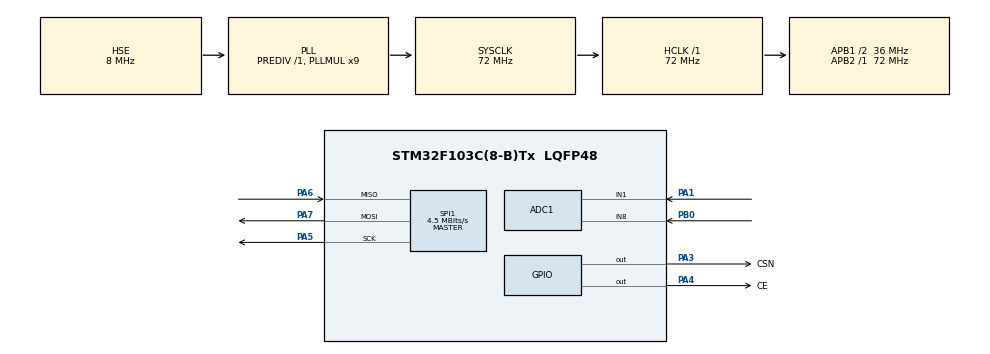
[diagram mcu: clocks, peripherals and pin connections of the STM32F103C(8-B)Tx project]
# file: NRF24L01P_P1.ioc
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ADC1.Channel-15\#ChannelInjectedConversion=ADC_CHANNEL_1
ADC1.Channel-16\#ChannelInjectedConversion=ADC_CHANNEL_8
ADC1.DiscontinuousConvMode=DISABLE
ADC1.EnableInjectedConversion=ENABLE
ADC1.EnableRegularConversion=DISABLE
ADC1.InjNumberOfConversion=2
ADC1.InjectedOffset-15\#ChannelInjectedConversion=0
ADC1.InjectedOffset-16\#ChannelInjectedConversion=0
ADC1.InjectedRank-15\#ChannelInjectedConversion=1
ADC1.InjectedRank-16\#ChannelInjectedConversion=2
ADC1.SamplingTime-15\#ChannelInjectedConversion=ADC_SAMPLETIME_239CYCLES_5
ADC1.SamplingTime-16\#ChannelInjectedConversion=ADC_SAMPLETIME_239CYCLES_5
ADC1.master=1
Mcu.Family=STM32F1
Mcu.Name=STM32F103C(8-B)Tx
Mcu.Package=LQFP48
NVIC.PriorityGroup=NVIC_PRIORITYGROUP_4
PA1.Signal=ADCx_IN1
PA13.Mode=Serial_Wire
PA13.Signal=SYS_JTMS-SWDIO
PA14.Mode=Serial_Wire
PA14.Signal=SYS_JTCK-SWCLK
PA3.GPIO_Label=CSN
PA3.GPIO_PuPd=GPIO_PULLUP
PA3.GPIO_Speed=GPIO_SPEED_FREQ_HIGH
PA3.PinState=GPIO_PIN_SET
PA3.Signal=GPIO_Output
PA4.GPIO_Label=CE
PA4.GPIO_PuPd=GPIO_PULLDOWN
PA4.GPIO_Speed=GPIO_SPEED_FREQ_HIGH
PA4.Signal=GPIO_Output
PA5.Mode=Full_Duplex_Master
PA5.Signal=SPI1_SCK
PA6.Mode=Full_Duplex_Master
PA6.Signal=SPI1_MISO
PA7.Mode=Full_Duplex_Master
PA7.Signal=SPI1_MOSI
PB0.Signal=ADCx_IN8
PD0-OSC_IN.Mode=HSE-External-Oscillator
PD0-OSC_IN.Signal=RCC_OSC_IN
PD1-OSC_OUT.Mode=HSE-External-Oscillator
PD1-OSC_OUT.Signal=RCC_OSC_OUT
ProjectManager.HeapSize=0x200
ProjectManager.StackSize=0x400
ProjectManager.TargetToolchain=STM32CubeIDE
RCC.ADCPresc=RCC_ADCPCLK2_DIV6
RCC.AHBFreq_Value=72000000
RCC.APB1CLKDivider=RCC_HCLK_DIV2
RCC.APB1Freq_Value=36000000
RCC.APB1TimFreq_Value=72000000
RCC.APB2Freq_Value=72000000
RCC.APB2TimFreq_Value=72000000
RCC.HCLKFreq_Value=72000000
RCC.PLLMUL=RCC_PLL_MUL9
RCC.PLLSourceVirtual=RCC_PLLSOURCE_HSE
RCC.SYSCLKFreq_VALUE=72000000
RCC.SYSCLKSource=RCC_SYSCLKSOURCE_PLLCLK
RCC.USBFreq_Value=72000000
SH.ADCx_IN1.0=ADC1_IN1,IN1
SH.ADCx_IN8.0=ADC1_IN8,IN8
SPI1.BaudRatePrescaler=SPI_BAUDRATEPRESCALER_16
SPI1.CalculateBaudRate=4.5 MBits/s
SPI1.Direction=SPI_DIRECTION_2LINES
SPI1.Mode=SPI_MODE_MASTER
SPI1.VirtualType=VM_MASTER
board=custom

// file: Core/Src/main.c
/* USER CODE BEGIN Header */
/**
 ******************************************************************************
 * @file           : main.c
 * @brief          : Main program body
 ******************************************************************************
 * @attention
 *
 * Copyright (c) 2023 STMicroelectronics.
 * All rights reserved.
 *
 * This software is licensed under terms that can be found in the LICENSE file
 * in the root directory of this software component.
 * If no LICENSE file comes with this software, it is provided AS-IS.
 *
 ******************************************************************************
 */
/* USER CODE END Header */
#include "main.h"

/* USER CODE BEGIN Includes */
#include "nrf24l01p.h"
#include "stdio.h"
#include "stdlib.h"
#include "string.h"
/* USER CODE END Includes */

ADC_HandleTypeDef hadc1;

SPI_HandleTypeDef hspi1;

/* USER CODE BEGIN PV */

uint16_t adc_value1 = 0;
uint16_t adc_value2 = 0;

//uint8_t address[5]={0xE7,0xE7,0xE7,0xE7,0xE7};

uint8_t P0_address[6] = "node0";
uint8_t P1_address[6] = "node1";

//uint8_t rx_data[NRF24L01P_PAYLOAD_LENGTH] = { 0 };
uint8_t tx_data[NRF24L01P_PAYLOAD_LENGTH] = { 0 };
/* USER CODE END PV */

void SystemClock_Config(void);
static void MX_GPIO_Init(void);
static void MX_SPI1_Init(void);
static void MX_ADC1_Init(void);
/* USER CODE BEGIN PFP */
//void HAL_GPIO_EXTI_Callback(uint16_t GPIO_Pin);
/* USER CODE END PFP */

int main(void)
{

  /* MCU Configuration--------------------------------------------------------*/

  /* Reset of all peripherals, Initializes the Flash interface and the Systick. */
  HAL_Init();

  /* Configure the system clock */
  SystemClock_Config();

  /* Initialize all configured peripherals */
  MX_GPIO_Init();
  MX_SPI1_Init();
  MX_ADC1_Init();
  /* USER CODE BEGIN 2 */
  nrf24l01p_tx_init(2500, _1Mbps,P0_address);

  /* USER CODE END 2 */

  /* Infinite loop */
	while (1) {

    /* USER CODE BEGIN 3 */

		memset(tx_data, 0, sizeof(tx_data));

		HAL_ADCEx_InjectedStar	t(&hadc1);

		HAL_ADCEx_InjectedPollForConversion(&hadc1, HAL_MAX_DELAY);

		adc_value1=HAL_ADCEx_InjectedGetValue(&hadc1,ADC_INJECTED_RANK_1);

		HAL_ADCEx_InjectedStart(&hadc1);

		HAL_ADCEx_InjectedPollForConversion(&hadc1, HAL_MAX_DELAY);

		adc_value2=HAL_ADCEx_InjectedGetValue(&hadc1,ADC_INJECTED_RANK_2);

		tx_data[0] = adc_value1 & 0xff;
		tx_data[1] = (adc_value1 >> 8) & 0xff;
		tx_data[2] = adc_value2 & 0xff;
		tx_data[3] = (adc_value2 >> 8) & 0xff;

		nrf24l01p_ptx_mode();

		nrf24l01p_flush_tx_fifo();
		nrf24l01p_tx_transmit(tx_data, sizeof(tx_data));

		HAL_Delay(100);

	}

  /* USER CODE END 3 */
}

void SystemClock_Config(void)
{
  RCC_OscInitTypeDef RCC_OscInitStruct = {0};
  RCC_ClkInitTypeDef RCC_ClkInitStruct = {0};
  RCC_PeriphCLKInitTypeDef PeriphClkInit = {0};

  /** Initializes the RCC Oscillators according to the specified parameters
  * in the RCC_OscInitTypeDef structure.
  */
  RCC_OscInitStruct.OscillatorType = RCC_OSCILLATORTYPE_HSE;
  RCC_OscInitStruct.HSEState = RCC_HSE_ON;
  RCC_OscInitStruct.HSEPredivValue = RCC_HSE_PREDIV_DIV1;
  RCC_OscInitStruct.HSIState = RCC_HSI_ON;
  RCC_OscInitStruct.PLL.PLLState = RCC_PLL_ON;
  RCC_OscInitStruct.PLL.PLLSource = RCC_PLLSOURCE_HSE;
  RCC_OscInitStruct.PLL.PLLMUL = RCC_PLL_MUL9;
  if (HAL_RCC_OscConfig(&RCC_OscInitStruct) != HAL_OK)
  {
    Error_Handler();
  }

  /** Initializes the CPU, AHB and APB buses clocks
  */
  RCC_ClkInitStruct.ClockType = RCC_CLOCKTYPE_HCLK|RCC_CLOCKTYPE_SYSCLK
                              |RCC_CLOCKTYPE_PCLK1|RCC_CLOCKTYPE_PCLK2;
  RCC_ClkInitStruct.SYSCLKSource = RCC_SYSCLKSOURCE_PLLCLK;
  RCC_ClkInitStruct.AHBCLKDivider = RCC_SYSCLK_DIV1;
  RCC_ClkInitStruct.APB1CLKDivider = RCC_HCLK_DIV2;
  RCC_ClkInitStruct.APB2CLKDivider = RCC_HCLK_DIV1;

  if (HAL_RCC_ClockConfig(&RCC_ClkInitStruct, FLASH_LATENCY_2) != HAL_OK)
  {
    Error_Handler();
  }
  PeriphClkInit.PeriphClockSelection = RCC_PERIPHCLK_ADC;
  PeriphClkInit.AdcClockSelection = RCC_ADCPCLK2_DIV6;
  if (HAL_RCCEx_PeriphCLKConfig(&PeriphClkInit) != HAL_OK)
  {
    Error_Handler();
  }
}

static void MX_ADC1_Init(void)
{

  ADC_InjectionConfTypeDef sConfigInjected = {0};

  /** Common config
  */
  hadc1.Instance = ADC1;
  hadc1.Init.ScanConvMode = ADC_SCAN_ENABLE;
  hadc1.Init.ContinuousConvMode = DISABLE;
  hadc1.Init.DiscontinuousConvMode = DISABLE;
  hadc1.Init.ExternalTrigConv = ADC_SOFTWARE_START;
  hadc1.Init.DataAlign = ADC_DATAALIGN_RIGHT;
  hadc1.Init.NbrOfConversion = 1;
  if (HAL_ADC_Init(&hadc1) != HAL_OK)
  {
    Error_Handler();
  }

  /** Configure Injected Channel
  */
  sConfigInjected.InjectedChannel = ADC_CHANNEL_1;
  sConfigInjected.InjectedRank = ADC_INJECTED_RANK_1;
  sConfigInjected.InjectedNbrOfConversion = 2;
  sConfigInjected.InjectedSamplingTime = ADC_SAMPLETIME_239CYCLES_5;
  sConfigInjected.ExternalTrigInjecConv = ADC_INJECTED_SOFTWARE_START;
  sConfigInjected.AutoInjectedConv = DISABLE;
  sConfigInjected.InjectedDiscontinuousConvMode = DISABLE;
  sConfigInjected.InjectedOffset = 0;
  if (HAL_ADCEx_InjectedConfigChannel(&hadc1, &sConfigInjected) != HAL_OK)
  {
    Error_Handler();
  }

  /** Configure Injected Channel
  */
  sConfigInjected.InjectedChannel = ADC_CHANNEL_8;
  sConfigInjected.InjectedRank = ADC_INJECTED_RANK_2;
  if (HAL_ADCEx_InjectedConfigChannel(&hadc1, &sConfigInjected) != HAL_OK)
  {
    Error_Handler();
  }

}

static void MX_SPI1_Init(void)
{

  /* SPI1 parameter configuration*/
  hspi1.Instance = SPI1;
  hspi1.Init.Mode = SPI_MODE_MASTER;
  hspi1.Init.Direction = SPI_DIRECTION_2LINES;
  hspi1.Init.DataSize = SPI_DATASIZE_8BIT;
  hspi1.Init.CLKPolarity = SPI_POLARITY_LOW;
  hspi1.Init.CLKPhase = SPI_PHASE_1EDGE;
  hspi1.Init.NSS = SPI_NSS_SOFT;
  hspi1.Init.BaudRatePrescaler = SPI_BAUDRATEPRESCALER_16;
  hspi1.Init.FirstBit = SPI_FIRSTBIT_MSB;
  hspi1.Init.TIMode = SPI_TIMODE_DISABLE;
  hspi1.Init.CRCCalculation = SPI_CRCCALCULATION_DISABLE;
  hspi1.Init.CRCPolynomial = 10;
  if (HAL_SPI_Init(&hspi1) != HAL_OK)
  {
    Error_Handler();
  }

}

static void MX_GPIO_Init(void)
{
  GPIO_InitTypeDef GPIO_InitStruct = {0};

  /* GPIO Ports Clock Enable */
  __HAL_RCC_GPIOD_CLK_ENABLE();
  __HAL_RCC_GPIOA_CLK_ENABLE();
  __HAL_RCC_GPIOB_CLK_ENABLE();

  /*Configure GPIO pin Output Level */
  HAL_GPIO_WritePin(CSN_GPIO_Port, CSN_Pin, GPIO_PIN_SET);

  /*Configure GPIO pin Output Level */
  HAL_GPIO_WritePin(CE_GPIO_Port, CE_Pin, GPIO_PIN_RESET);

  /*Configure GPIO pin : CSN_Pin */
  GPIO_InitStruct.Pin = CSN_Pin;
  GPIO_InitStruct.Mode = GPIO_MODE_OUTPUT_PP;
  GPIO_InitStruct.Pull = GPIO_PULLUP;
  GPIO_InitStruct.Speed = GPIO_SPEED_FREQ_HIGH;
  HAL_GPIO_Init(CSN_GPIO_Port, &GPIO_InitStruct);

  /*Configure GPIO pin : CE_Pin */
  GPIO_InitStruct.Pin = CE_Pin;
  GPIO_InitStruct.Mode = GPIO_MODE_OUTPUT_PP;
  GPIO_InitStruct.Pull = GPIO_PULLDOWN;
  GPIO_InitStruct.Speed = GPIO_SPEED_FREQ_HIGH;
  HAL_GPIO_Init(CE_GPIO_Port, &GPIO_InitStruct);

}

void Error_Handler(void)
{
	__disable_irq();
	while (1) {
	}
}
